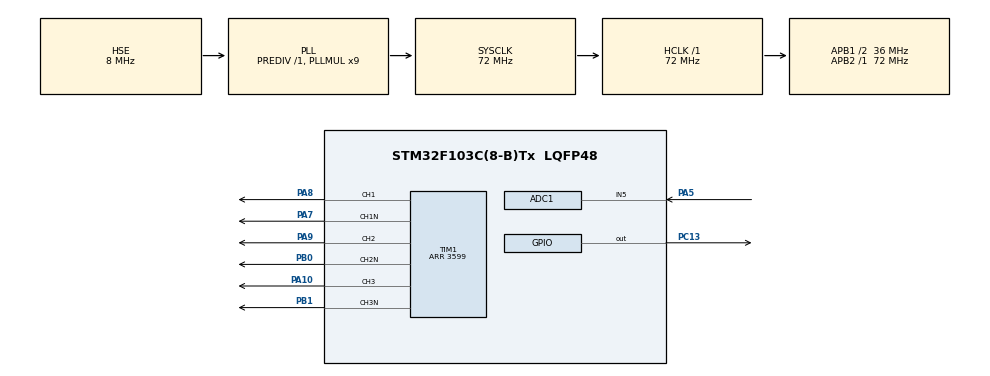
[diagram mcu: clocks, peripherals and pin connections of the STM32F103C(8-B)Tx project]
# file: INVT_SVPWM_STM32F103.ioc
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ADC1.Channel-0\#ChannelRegularConversion=ADC_CHANNEL_5
ADC1.NbrOfConversionFlag=1
ADC1.Rank-0\#ChannelRegularConversion=1
ADC1.SamplingTime-0\#ChannelRegularConversion=ADC_SAMPLETIME_1CYCLE_5
ADC1.master=1
Mcu.Family=STM32F1
Mcu.Name=STM32F103C(8-B)Tx
Mcu.Package=LQFP48
NVIC.PriorityGroup=NVIC_PRIORITYGROUP_4
NVIC.TIM1_UP_IRQn=true\:1\:0\:true\:false\:true\:true\:true\:true
NVIC.TIM2_IRQn=true\:1\:0\:true\:false\:true\:true\:true\:true
NVIC.TIM4_IRQn=true\:1\:0\:true\:false\:true\:true\:true\:true
PA10.Signal=S_TIM1_CH3
PA13.Mode=Serial_Wire
PA13.Signal=SYS_JTMS-SWDIO
PA14.Mode=Serial_Wire
PA14.Signal=SYS_JTCK-SWCLK
PA5.Signal=ADCx_IN5
PA7.Mode=PWM Generation1 CH1 CH1N
PA7.Signal=TIM1_CH1N
PA8.Signal=S_TIM1_CH1
PA9.Signal=S_TIM1_CH2
PB0.Mode=PWM Generation2 CH2 CH2N
PB0.Signal=TIM1_CH2N
PB1.Mode=PWM Generation3 CH3 CH3N
PB1.Signal=TIM1_CH3N
PC13-TAMPER-RTC.GPIO_Speed=GPIO_SPEED_FREQ_HIGH
PC13-TAMPER-RTC.Signal=GPIO_Output
PD0-OSC_IN.Mode=HSE-External-Oscillator
PD0-OSC_IN.Signal=RCC_OSC_IN
PD1-OSC_OUT.Mode=HSE-External-Oscillator
PD1-OSC_OUT.Signal=RCC_OSC_OUT
ProjectManager.HeapSize=0x200
ProjectManager.StackSize=0x400
ProjectManager.TargetToolchain=STM32CubeIDE
RCC.ADCPresc=RCC_ADCPCLK2_DIV6
RCC.AHBFreq_Value=72000000
RCC.APB1CLKDivider=RCC_HCLK_DIV2
RCC.APB1Freq_Value=36000000
RCC.APB1TimFreq_Value=72000000
RCC.APB2Freq_Value=72000000
RCC.APB2TimFreq_Value=72000000
RCC.HCLKFreq_Value=72000000
RCC.PLLMUL=RCC_PLL_MUL9
RCC.PLLSourceVirtual=RCC_PLLSOURCE_HSE
RCC.SYSCLKFreq_VALUE=72000000
RCC.SYSCLKSource=RCC_SYSCLKSOURCE_PLLCLK
RCC.USBFreq_Value=72000000
SH.ADCx_IN5.0=ADC1_IN5,IN5
SH.S_TIM1_CH1.0=TIM1_CH1,PWM Generation1 CH1 CH1N
SH.S_TIM1_CH2.0=TIM1_CH2,PWM Generation2 CH2 CH2N
SH.S_TIM1_CH3.0=TIM1_CH3,PWM Generation3 CH3 CH3N
TIM1.Channel-PWM\ Generation1\ CH1\ CH1N=TIM_CHANNEL_1
TIM1.Channel-PWM\ Generation2\ CH2\ CH2N=TIM_CHANNEL_2
TIM1.Channel-PWM\ Generation3\ CH3\ CH3N=TIM_CHANNEL_3
TIM1.CounterMode=TIM_COUNTERMODE_CENTERALIGNED1
TIM1.DeadTime=154
TIM1.Period=3599
TIM4.Period=65534
TIM4.Prescaler=71
VP_TIM1_VS_ClockSourceINT.Mode=Internal
VP_TIM2_VS_ClockSourceINT.Mode=Internal
VP_TIM4_VS_ClockSourceINT.Mode=Internal
board=custom

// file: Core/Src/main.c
/* USER CODE BEGIN Header */
/**
  ******************************************************************************
  * @file           : main.c
  * @brief          : Main program body
  ******************************************************************************
  * @attention
  *
  * Copyright (c) 2023 STMicroelectronics.
  * All rights reserved.
  *
  * This software is licensed under terms that can be found in the LICENSE file
  * in the root directory of this software component.
  * If no LICENSE file comes with this software, it is provided AS-IS.
  *
  ******************************************************************************
  */
/* USER CODE END Header */
#include "main.h"
#include "math.h"
#include "svpwm.h"

/* USER CODE BEGIN PD */
#define DEADTIME_2U5S 154
#define DEADTIME_2US 136
#define DEADTIME_1US 72

#define SETUP_FREQ 50
#define SETUP_TIME 10

/* USER CODE END PD */

ADC_HandleTypeDef hadc1;

TIM_HandleTypeDef htim1;
TIM_HandleTypeDef htim2;
TIM_HandleTypeDef htim4;

/* USER CODE BEGIN PV */
volatile uint16_t arrIndex = 0, ii = 0, analogA5 = 0;
volatile uint32_t counter = 0, counterr = 0, counterrr = 0;

volatile float setupFrequence = (float)SETUP_FREQ;		// Hz
volatile float setupTime 	  = (float)SETUP_TIME;		// s: 1 -> setupFrequence (Hz) in setupTime (s)
volatile uint32_t periodNow = 359;
volatile uint32_t pscNow = 65535;
volatile uint32_t TIM1_PCS = 0;
volatile uint32_t TIM1_ARR = 3599;
volatile uint32_t TIM4_PCS = 71;
volatile uint32_t TIM4_ARR;
volatile uint32_t pscNow2 = 65535;
volatile uint16_t delayTime;
volatile float frequenceNow = 0.000001f;

volatile uint8_t STT;

/* USER CODE END PV */

void SystemClock_Config(void);
static void MX_GPIO_Init(void);
static void MX_ADC1_Init(void);
static void MX_TIM1_Init(void);
static void MX_TIM2_Init(void);
static void MX_TIM4_Init(void);

/* USER CODE BEGIN 0 */
void HAL_TIM_PeriodElapsedCallback(TIM_HandleTypeDef *htim);
/* USER CODE END 0 */

int main(void)
{

  /* MCU Configuration--------------------------------------------------------*/

  /* Reset of all peripherals, Initializes the Flash interface and the Systick. */  HAL_Init();

  /* Configure the system clock */
  SystemClock_Config();

  /* Initialize all configured peripherals */
  MX_GPIO_Init();
  MX_ADC1_Init();
  MX_TIM1_Init();
  MX_TIM2_Init();
  MX_TIM4_Init();
  /* USER CODE BEGIN 2 */
  HAL_TIM_Base_Start_IT(&htim2);
  HAL_TIM_Base_Start_IT(&htim4);
  HAL_TIM_PWM_Start(&htim1, TIM_CHANNEL_1);
  HAL_TIMEx_PWMN_Start(&htim1, TIM_CHANNEL_1);
  HAL_TIM_PWM_Start(&htim1, TIM_CHANNEL_2);
  HAL_TIMEx_PWMN_Start(&htim1, TIM_CHANNEL_2);
  HAL_TIM_PWM_Start(&htim1, TIM_CHANNEL_3);
  HAL_TIMEx_PWMN_Start(&htim1, TIM_CHANNEL_3);
  HAL_ADC_Start(&hadc1);

  SVWave();

  setupTime = setupTime < 1.0 ? 1.0 : setupTime;
  HAL_GPIO_WritePin(GPIOC, GPIO_PIN_13, 0x0);
  TIM4->ARR = (uint32_t)(round(setupTime * 10000.0f / setupFrequence - 0.6));

//  TIM1->CCR1 = S11[50];
//  TIM1->CCR2 = S11[50];
//  TIM1->CCR3 = S11[50];
  /* USER CODE END 2 */

  /* Infinite loop */
  while (1)
  {

    /* USER CODE BEGIN 3 */

	  periodNow = (uint32_t)(round(360000.0 / frequenceNow));
	  pscNow = (uint32_t)(round(1000.0 / frequenceNow));

  /* USER CODE END 3 */
  }
}

void SystemClock_Config(void)
{
  RCC_OscInitTypeDef RCC_OscInitStruct = {0};
  RCC_ClkInitTypeDef RCC_ClkInitStruct = {0};
  RCC_PeriphCLKInitTypeDef PeriphClkInit = {0};

  /** Initializes the RCC Oscillators according to the specified parameters
  * in the RCC_OscInitTypeDef structure.
  */
  RCC_OscInitStruct.OscillatorType = RCC_OSCILLATORTYPE_HSE;
  RCC_OscInitStruct.HSEState = RCC_HSE_ON;
  RCC_OscInitStruct.HSEPredivValue = RCC_HSE_PREDIV_DIV1;
  RCC_OscInitStruct.HSIState = RCC_HSI_ON;
  RCC_OscInitStruct.PLL.PLLState = RCC_PLL_ON;
  RCC_OscInitStruct.PLL.PLLSource = RCC_PLLSOURCE_HSE;
  RCC_OscInitStruct.PLL.PLLMUL = RCC_PLL_MUL9;
  if (HAL_RCC_OscConfig(&RCC_OscInitStruct) != HAL_OK)
  {
    Error_Handler();
  }

  /** Initializes the CPU, AHB and APB buses clocks
  */
  RCC_ClkInitStruct.ClockType = RCC_CLOCKTYPE_HCLK|RCC_CLOCKTYPE_SYSCLK
                              |RCC_CLOCKTYPE_PCLK1|RCC_CLOCKTYPE_PCLK2;
  RCC_ClkInitStruct.SYSCLKSource = RCC_SYSCLKSOURCE_PLLCLK;
  RCC_ClkInitStruct.AHBCLKDivider = RCC_SYSCLK_DIV1;
  RCC_ClkInitStruct.APB1CLKDivider = RCC_HCLK_DIV2;
  RCC_ClkInitStruct.APB2CLKDivider = RCC_HCLK_DIV1;

  if (HAL_RCC_ClockConfig(&RCC_ClkInitStruct, FLASH_LATENCY_2) != HAL_OK)
  {
    Error_Handler();
  }
  PeriphClkInit.PeriphClockSelection = RCC_PERIPHCLK_ADC;
  PeriphClkInit.AdcClockSelection = RCC_ADCPCLK2_DIV6;
  if (HAL_RCCEx_PeriphCLKConfig(&PeriphClkInit) != HAL_OK)
  {
    Error_Handler();
  }
}

static void MX_ADC1_Init(void)
{

  ADC_ChannelConfTypeDef sConfig = {0};

  /** Common config
  */
  hadc1.Instance = ADC1;
  hadc1.Init.ScanConvMode = ADC_SCAN_DISABLE;
  hadc1.Init.ContinuousConvMode = DISABLE;
  hadc1.Init.DiscontinuousConvMode = DISABLE;
  hadc1.Init.ExternalTrigConv = ADC_SOFTWARE_START;
  hadc1.Init.DataAlign = ADC_DATAALIGN_RIGHT;
  hadc1.Init.NbrOfConversion = 1;
  if (HAL_ADC_Init(&hadc1) != HAL_OK)
  {
    Error_Handler();
  }

  /** Configure Regular Channel
  */
  sConfig.Channel = ADC_CHANNEL_5;
  sConfig.Rank = ADC_REGULAR_RANK_1;
  sConfig.SamplingTime = ADC_SAMPLETIME_1CYCLE_5;
  if (HAL_ADC_ConfigChannel(&hadc1, &sConfig) != HAL_OK)
  {
    Error_Handler();
  }

}

static void MX_TIM1_Init(void)
{

  TIM_ClockConfigTypeDef sClockSourceConfig = {0};
  TIM_MasterConfigTypeDef sMasterConfig = {0};
  TIM_OC_InitTypeDef sConfigOC = {0};
  TIM_BreakDeadTimeConfigTypeDef sBreakDeadTimeConfig = {0};

  htim1.Instance = TIM1;
  htim1.Init.Prescaler = 0;
  htim1.Init.CounterMode = TIM_COUNTERMODE_CENTERALIGNED1;
  htim1.Init.Period = 3599;
  htim1.Init.ClockDivision = TIM_CLOCKDIVISION_DIV1;
  htim1.Init.RepetitionCounter = 0;
  htim1.Init.AutoReloadPreload = TIM_AUTORELOAD_PRELOAD_DISABLE;
  if (HAL_TIM_Base_Init(&htim1) != HAL_OK)
  {
    Error_Handler();
  }
  sClockSourceConfig.ClockSource = TIM_CLOCKSOURCE_INTERNAL;
  if (HAL_TIM_ConfigClockSource(&htim1, &sClockSourceConfig) != HAL_OK)
  {
    Error_Handler();
  }
  if (HAL_TIM_PWM_Init(&htim1) != HAL_OK)
  {
    Error_Handler();
  }
  sMasterConfig.MasterOutputTrigger = TIM_TRGO_RESET;
  sMasterConfig.MasterSlaveMode = TIM_MASTERSLAVEMODE_DISABLE;
  if (HAL_TIMEx_MasterConfigSynchronization(&htim1, &sMasterConfig) != HAL_OK)
  {
    Error_Handler();
  }
  sConfigOC.OCMode = TIM_OCMODE_PWM1;
  sConfigOC.Pulse = 0;
  sConfigOC.OCPolarity = TIM_OCPOLARITY_HIGH;
  sConfigOC.OCNPolarity = TIM_OCNPOLARITY_HIGH;
  sConfigOC.OCFastMode = TIM_OCFAST_DISABLE;
  sConfigOC.OCIdleState = TIM_OCIDLESTATE_RESET;
  sConfigOC.OCNIdleState = TIM_OCNIDLESTATE_RESET;
  if (HAL_TIM_PWM_ConfigChannel(&htim1, &sConfigOC, TIM_CHANNEL_1) != HAL_OK)
  {
    Error_Handler();
  }
  if (HAL_TIM_PWM_ConfigChannel(&htim1, &sConfigOC, TIM_CHANNEL_2) != HAL_OK)
  {
    Error_Handler();
  }
  if (HAL_TIM_PWM_ConfigChannel(&htim1, &sConfigOC, TIM_CHANNEL_3) != HAL_OK)
  {
    Error_Handler();
  }
  sBreakDeadTimeConfig.OffStateRunMode = TIM_OSSR_DISABLE;
  sBreakDeadTimeConfig.OffStateIDLEMode = TIM_OSSI_DISABLE;
  sBreakDeadTimeConfig.LockLevel = TIM_LOCKLEVEL_OFF;
  sBreakDeadTimeConfig.DeadTime = DEADTIME_1US;
  sBreakDeadTimeConfig.BreakState = TIM_BREAK_DISABLE;
  sBreakDeadTimeConfig.BreakPolarity = TIM_BREAKPOLARITY_HIGH;
  sBreakDeadTimeConfig.AutomaticOutput = TIM_AUTOMATICOUTPUT_DISABLE;
  if (HAL_TIMEx_ConfigBreakDeadTime(&htim1, &sBreakDeadTimeConfig) != HAL_OK)
  {
    Error_Handler();
  }
  HAL_TIM_MspPostInit(&htim1);

}

static void MX_TIM2_Init(void)
{

  TIM_ClockConfigTypeDef sClockSourceConfig = {0};
  TIM_MasterConfigTypeDef sMasterConfig = {0};

  htim2.Instance = TIM2;
  htim2.Init.Prescaler = 0;
  htim2.Init.CounterMode = TIM_COUNTERMODE_UP;
  htim2.Init.Period = 65535;
  htim2.Init.ClockDivision = TIM_CLOCKDIVISION_DIV1;
  htim2.Init.AutoReloadPreload = TIM_AUTORELOAD_PRELOAD_DISABLE;
  if (HAL_TIM_Base_Init(&htim2) != HAL_OK)
  {
    Error_Handler();
  }
  sClockSourceConfig.ClockSource = TIM_CLOCKSOURCE_INTERNAL;
  if (HAL_TIM_ConfigClockSource(&htim2, &sClockSourceConfig) != HAL_OK)
  {
    Error_Handler();
  }
  sMasterConfig.MasterOutputTrigger = TIM_TRGO_RESET;
  sMasterConfig.MasterSlaveMode = TIM_MASTERSLAVEMODE_DISABLE;
  if (HAL_TIMEx_MasterConfigSynchronization(&htim2, &sMasterConfig) != HAL_OK)
  {
    Error_Handler();
  }

}

static void MX_TIM4_Init(void)
{

  TIM_ClockConfigTypeDef sClockSourceConfig = {0};
  TIM_MasterConfigTypeDef sMasterConfig = {0};

  htim4.Instance = TIM4;
  htim4.Init.Prescaler = 71;
  htim4.Init.CounterMode = TIM_COUNTERMODE_UP;
  htim4.Init.Period = 65535;
  htim4.Init.ClockDivision = TIM_CLOCKDIVISION_DIV1;
  htim4.Init.AutoReloadPreload = TIM_AUTORELOAD_PRELOAD_DISABLE;
  if (HAL_TIM_Base_Init(&htim4) != HAL_OK)
  {
    Error_Handler();
  }
  sClockSourceConfig.ClockSource = TIM_CLOCKSOURCE_INTERNAL;
  if (HAL_TIM_ConfigClockSource(&htim4, &sClockSourceConfig) != HAL_OK)
  {
    Error_Handler();
  }
  sMasterConfig.MasterOutputTrigger = TIM_TRGO_RESET;
  sMasterConfig.MasterSlaveMode = TIM_MASTERSLAVEMODE_DISABLE;
  if (HAL_TIMEx_MasterConfigSynchronization(&htim4, &sMasterConfig) != HAL_OK)
  {
    Error_Handler();
  }

}

static void MX_GPIO_Init(void)
{
  GPIO_InitTypeDef GPIO_InitStruct = {0};

  /* GPIO Ports Clock Enable */
  __HAL_RCC_GPIOC_CLK_ENABLE();
  __HAL_RCC_GPIOD_CLK_ENABLE();
  __HAL_RCC_GPIOA_CLK_ENABLE();
  __HAL_RCC_GPIOB_CLK_ENABLE();

  /*Configure GPIO pin Output Level */
  HAL_GPIO_WritePin(GPIOC, GPIO_PIN_13, GPIO_PIN_RESET);

  /*Configure GPIO pin : PC13 */
  GPIO_InitStruct.Pin = GPIO_PIN_13;
  GPIO_InitStruct.Mode = GPIO_MODE_OUTPUT_PP;
  GPIO_InitStruct.Pull = GPIO_NOPULL;
  GPIO_InitStruct.Speed = GPIO_SPEED_FREQ_HIGH;
  HAL_GPIO_Init(GPIOC, &GPIO_InitStruct);

}

/* USER CODE BEGIN 4 */
void HAL_TIM_PeriodElapsedCallback(TIM_HandleTypeDef *htim)
{
	if (htim->Instance == TIM2) {
		arrIndex++;
		if (arrIndex >= 200){
			arrIndex = 0;
			counter++;
			STT = ~STT;
			HAL_GPIO_WritePin(GPIOC, GPIO_PIN_13, STT);
		}
		  TIM1->CCR1 = S11[arrIndex];		// PWM1 = A8	PWM1N = A7
		  TIM1->CCR2 = S22[arrIndex];		// PWM2 = A9	PWM2N = B0
		  TIM1->CCR3 = S33[arrIndex];		// PWM3 = A10	PWM3N = B1
	}
	if (htim->Instance == TIM4) {
		if (frequenceNow <= setupFrequence){
			frequenceNow = frequenceNow + 0.01;
			if (frequenceNow < 5.5000f){
				TIM2->ARR = 359;
				TIM2->PSC = (uint32_t)(round(1000.0 / frequenceNow));
			} else {
				TIM2->PSC = 0;
				TIM2->ARR = (uint32_t)(round(360000.0 / frequenceNow));
			}
		} else HAL_TIM_Base_Stop_IT(&htim4);
		counterrr++;
	}
}

/* USER CODE END 4 */

void Error_Handler(void)
{
  __disable_irq();
  while (1)
  {
  }
}
